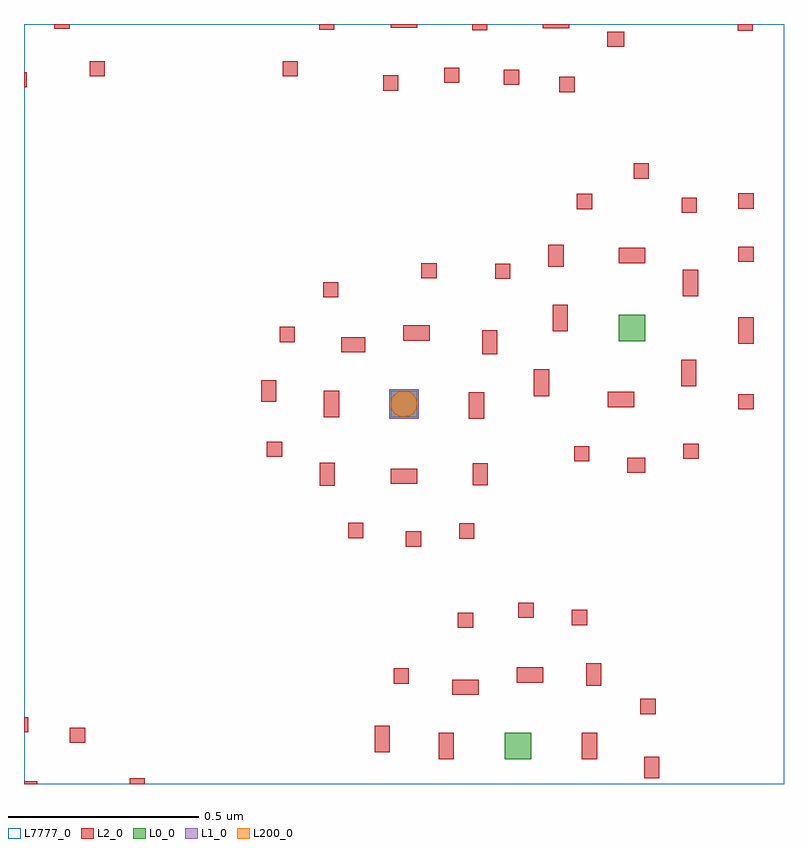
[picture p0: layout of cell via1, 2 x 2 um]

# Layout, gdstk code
import gdstk
lib = gdstk.Library(unit=1e-6, precision=1e-09)
def R(c, l, rs):  # rectangles x0, y0, x1, y1
    for r in rs: c.add(gdstk.rectangle(r[:2], r[2:], *l))
def P(c, l, *ps):  # polygons
    for p in ps: c.add(gdstk.Polygon(p, *l))
L0_0 = (0, 0)
L1_0 = (1, 0)
L2_0 = (2, 0)
L200_0 = (200, 0)
L7777_0 = (7777, 0)

via1 = lib.new_cell('via1')
R(via1, L0_0, [(125.815,73.765,125.885,73.835), (125.515,74.665,125.585,74.735), (126.115,74.865,126.185,74.935)])
R(via1, L1_0, [(125.511,74.661,125.589,74.739)])
R(via1, L2_0, [(124.55,73.7,124.585,73.707), (124.828,73.7,124.868,73.715), (126.182,73.715,126.222,73.772), (125.641,73.765,125.681,73.835), (126.018,73.765,126.058,73.835), (125.473,73.783,125.513,73.853), (124.671,73.808,124.711,73.848), (124.55,73.836,124.561,73.876), (126.172,73.884,126.212,73.924), (125.677,73.935,125.747,73.975), (126.029,73.958,126.069,74.018), (125.523,73.964,125.563,74.004), (125.847,73.967,125.917,74.007), (125.692,74.111,125.732,74.151), (125.992,74.118,126.032,74.158), (125.85,74.137,125.892,74.177), (125.555,74.325,125.595,74.365), (125.695,74.346,125.735,74.386), (125.403,74.347,125.443,74.387), (125.328,74.485,125.368,74.545), (125.731,74.486,125.771,74.544), (125.515,74.49,125.585,74.53), (126.138,74.519,126.185,74.559), (125.998,74.549,126.038,74.589), (126.285,74.556,126.325,74.596), (125.189,74.561,125.229,74.601), (125.721,74.661,125.761,74.731), (125.339,74.665,125.379,74.735), (126.43,74.686,126.47,74.726), (126.086,74.692,126.156,74.732), (125.174,74.706,125.214,74.763), (125.892,74.721,125.932,74.791), (126.279,74.747,126.319,74.817), (125.756,74.831,125.796,74.894), (125.385,74.836,125.448,74.876), (126.43,74.858,126.47,74.928), (125.223,74.863,125.263,74.903), (125.548,74.867,125.618,74.907), (125.941,74.891,125.981,74.961), (125.337,74.981,125.377,75.021), (126.284,74.983,126.324,75.053), (125.79,75.029,125.83,75.069), (125.596,75.031,125.636,75.071), (125.93,75.061,125.97,75.119), (126.115,75.071,126.185,75.111), (126.43,75.074,126.47,75.114), (126.281,75.203,126.321,75.243), (126.005,75.213,126.045,75.253), (126.43,75.214,126.47,75.254), (126.154,75.293,126.194,75.333), (125.959,75.521,125.999,75.561), (125.495,75.525,125.535,75.565), (124.55,75.533,124.557,75.573), (125.813,75.54,125.853,75.58), (125.656,75.545,125.696,75.585), (124.723,75.562,124.763,75.602), (125.231,75.562,125.271,75.602), (126.085,75.64,126.129,75.68), (126.428,75.682,126.468,75.7), (125.729,75.684,125.769,75.7), (125.327,75.685,125.367,75.7), (124.63,75.687,124.67,75.7), (125.915,75.689,125.985,75.7), (125.515,75.69,125.585,75.7)])
P(via1, L200_0, [(125.546,74.665),(125.537,74.668),(125.527,74.673),(125.518,74.684),(125.515,74.696),(125.517,74.714),(125.523,74.723),(125.536,74.733),(125.546,74.735),(125.564,74.733),(125.574,74.726),(125.582,74.714),(125.585,74.705),(125.583,74.688),(125.574,74.674),(125.564,74.668)])
R(via1, L7777_0, [(124.55,73.7,126.55,75.7)])

lib.write_gds('via1.gds')
